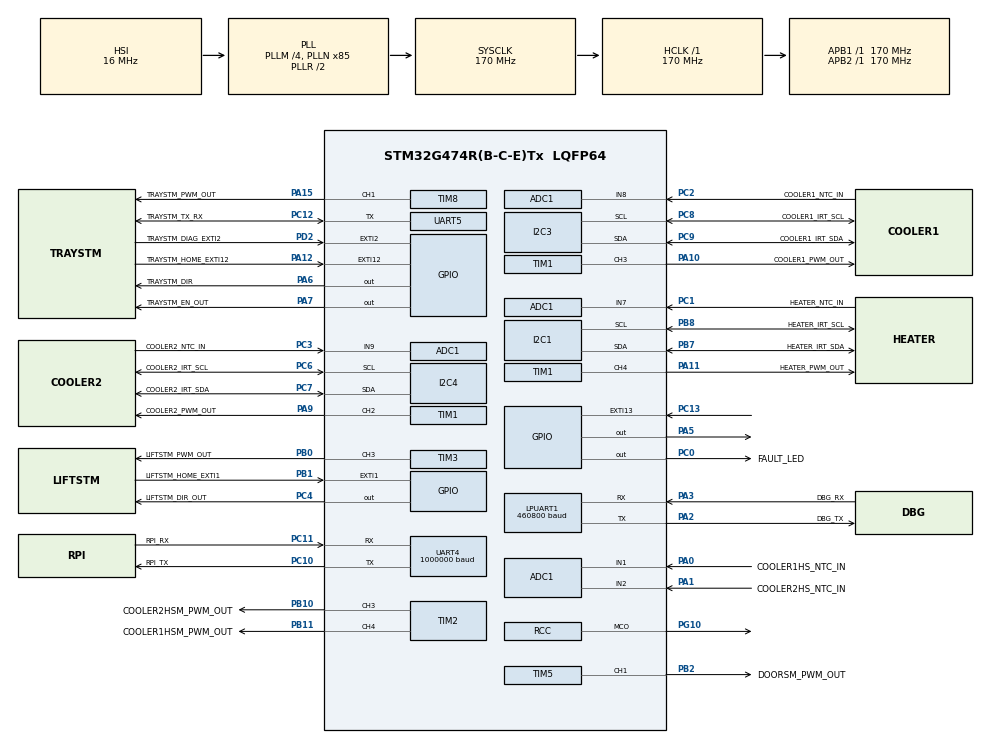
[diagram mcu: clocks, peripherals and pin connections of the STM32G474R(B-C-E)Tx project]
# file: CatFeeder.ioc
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ADC1.Channel-0\#ChannelRegularConversion=ADC_CHANNEL_7
ADC1.Channel-1\#ChannelRegularConversion=ADC_CHANNEL_8
ADC1.Channel-2\#ChannelRegularConversion=ADC_CHANNEL_9
ADC1.Channel-3\#ChannelRegularConversion=ADC_CHANNEL_1
ADC1.Channel-4\#ChannelRegularConversion=ADC_CHANNEL_2
ADC1.Channel-5\#ChannelRegularConversion=ADC_CHANNEL_TEMPSENSOR_ADC1
ADC1.Channel-9\#ChannelRegularConversion=ADC_CHANNEL_VREFINT
ADC1.DMAContinuousRequests=ENABLE
ADC1.EnableAnalogWatchDog1=false
ADC1.ExternalTrigConv=ADC_EXTERNALTRIG_T6_TRGO
ADC1.NbrOfConversion=7
ADC1.NbrOfConversionFlag=1
ADC1.OffsetNumber-0\#ChannelRegularConversion=ADC_OFFSET_NONE
ADC1.OffsetNumber-1\#ChannelRegularConversion=ADC_OFFSET_NONE
ADC1.OffsetNumber-2\#ChannelRegularConversion=ADC_OFFSET_NONE
ADC1.OffsetNumber-3\#ChannelRegularConversion=ADC_OFFSET_NONE
ADC1.OffsetNumber-4\#ChannelRegularConversion=ADC_OFFSET_NONE
ADC1.OffsetNumber-5\#ChannelRegularConversion=ADC_OFFSET_NONE
ADC1.OffsetNumber-9\#ChannelRegularConversion=ADC_OFFSET_NONE
ADC1.Overrun=ADC_OVR_DATA_OVERWRITTEN
ADC1.OversamplingMode=DISABLE
ADC1.Rank-0\#ChannelRegularConversion=1
ADC1.Rank-1\#ChannelRegularConversion=2
ADC1.Rank-2\#ChannelRegularConversion=3
ADC1.Rank-3\#ChannelRegularConversion=4
ADC1.Rank-4\#ChannelRegularConversion=5
ADC1.Rank-5\#ChannelRegularConversion=6
ADC1.Rank-9\#ChannelRegularConversion=7
ADC1.SamplingTime-0\#ChannelRegularConversion=ADC_SAMPLETIME_247CYCLES_5
ADC1.SamplingTime-1\#ChannelRegularConversion=ADC_SAMPLETIME_247CYCLES_5
ADC1.SamplingTime-2\#ChannelRegularConversion=ADC_SAMPLETIME_247CYCLES_5
ADC1.SamplingTime-3\#ChannelRegularConversion=ADC_SAMPLETIME_247CYCLES_5
ADC1.SamplingTime-4\#ChannelRegularConversion=ADC_SAMPLETIME_247CYCLES_5
ADC1.SamplingTime-5\#ChannelRegularConversion=ADC_SAMPLETIME_247CYCLES_5
ADC1.SamplingTime-9\#ChannelRegularConversion=ADC_SAMPLETIME_247CYCLES_5
ADC1.master=1
Dma.ADC1.6.Direction=DMA_PERIPH_TO_MEMORY
Dma.ADC1.6.EventEnable=DISABLE
Dma.ADC1.6.Instance=DMA1_Channel5
Dma.ADC1.6.MemDataAlignment=DMA_MDATAALIGN_HALFWORD
Dma.ADC1.6.MemInc=DMA_MINC_ENABLE
Dma.ADC1.6.Mode=DMA_CIRCULAR
Dma.ADC1.6.PeriphDataAlignment=DMA_PDATAALIGN_HALFWORD
Dma.ADC1.6.PeriphInc=DMA_PINC_DISABLE
Dma.ADC1.6.Polarity=HAL_DMAMUX_REQ_GEN_RISING
Dma.ADC1.6.Priority=DMA_PRIORITY_HIGH
Dma.ADC1.6.RequestNumber=1
Dma.ADC1.6.SignalID=NONE
Dma.ADC1.6.SyncEnable=DISABLE
Dma.ADC1.6.SyncPolarity=HAL_DMAMUX_SYNC_NO_EVENT
Dma.ADC1.6.SyncRequestNumber=1
Dma.ADC1.6.SyncSignalID=NONE
Dma.LPUART1_RX.0.Direction=DMA_PERIPH_TO_MEMORY
Dma.LPUART1_RX.0.EventEnable=DISABLE
Dma.LPUART1_RX.0.Instance=DMA1_Channel1
Dma.LPUART1_RX.0.MemDataAlignment=DMA_MDATAALIGN_BYTE
Dma.LPUART1_RX.0.MemInc=DMA_MINC_ENABLE
Dma.LPUART1_RX.0.Mode=DMA_CIRCULAR
Dma.LPUART1_RX.0.PeriphDataAlignment=DMA_PDATAALIGN_BYTE
Dma.LPUART1_RX.0.PeriphInc=DMA_PINC_DISABLE
Dma.LPUART1_RX.0.Polarity=HAL_DMAMUX_REQ_GEN_RISING
Dma.LPUART1_RX.0.Priority=DMA_PRIORITY_LOW
Dma.LPUART1_RX.0.RequestNumber=1
Dma.LPUART1_RX.0.SignalID=NONE
Dma.LPUART1_RX.0.SyncEnable=DISABLE
Dma.LPUART1_RX.0.SyncPolarity=HAL_DMAMUX_SYNC_NO_EVENT
Dma.LPUART1_RX.0.SyncRequestNumber=1
Dma.LPUART1_RX.0.SyncSignalID=NONE
Dma.LPUART1_TX.1.Direction=DMA_MEMORY_TO_PERIPH
Dma.LPUART1_TX.1.EventEnable=DISABLE
Dma.LPUART1_TX.1.Instance=DMA1_Channel2
Dma.LPUART1_TX.1.MemDataAlignment=DMA_MDATAALIGN_BYTE
Dma.LPUART1_TX.1.MemInc=DMA_MINC_ENABLE
Dma.LPUART1_TX.1.Mode=DMA_NORMAL
Dma.LPUART1_TX.1.PeriphDataAlignment=DMA_PDATAALIGN_BYTE
Dma.LPUART1_TX.1.PeriphInc=DMA_PINC_DISABLE
Dma.LPUART1_TX.1.Polarity=HAL_DMAMUX_REQ_GEN_RISING
Dma.LPUART1_TX.1.Priority=DMA_PRIORITY_LOW
Dma.LPUART1_TX.1.RequestNumber=1
Dma.LPUART1_TX.1.SignalID=NONE
Dma.LPUART1_TX.1.SyncEnable=DISABLE
Dma.LPUART1_TX.1.SyncPolarity=HAL_DMAMUX_SYNC_NO_EVENT
Dma.LPUART1_TX.1.SyncRequestNumber=1
Dma.LPUART1_TX.1.SyncSignalID=NONE
Dma.Request0=LPUART1_RX
Dma.Request1=LPUART1_TX
Dma.Request2=UART5_TX
Dma.Request3=UART5_RX
Dma.Request4=UART4_RX
Dma.Request5=UART4_TX
Dma.Request6=ADC1
Dma.UART4_RX.4.Direction=DMA_PERIPH_TO_MEMORY
Dma.UART4_RX.4.EventEnable=DISABLE
Dma.UART4_RX.4.Instance=DMA2_Channel1
Dma.UART4_RX.4.MemDataAlignment=DMA_MDATAALIGN_BYTE
Dma.UART4_RX.4.MemInc=DMA_MINC_ENABLE
Dma.UART4_RX.4.Mode=DMA_CIRCULAR
Dma.UART4_RX.4.PeriphDataAlignment=DMA_PDATAALIGN_BYTE
Dma.UART4_RX.4.PeriphInc=DMA_PINC_DISABLE
Dma.UART4_RX.4.Polarity=HAL_DMAMUX_REQ_GEN_RISING
Dma.UART4_RX.4.Priority=DMA_PRIORITY_HIGH
Dma.UART4_RX.4.RequestNumber=1
Dma.UART4_RX.4.SignalID=NONE
Dma.UART4_RX.4.SyncEnable=DISABLE
Dma.UART4_RX.4.SyncPolarity=HAL_DMAMUX_SYNC_NO_EVENT
Dma.UART4_RX.4.SyncRequestNumber=1
Dma.UART4_RX.4.SyncSignalID=NONE
Dma.UART4_TX.5.Direction=DMA_MEMORY_TO_PERIPH
Dma.UART4_TX.5.EventEnable=DISABLE
Dma.UART4_TX.5.Instance=DMA2_Channel2
Dma.UART4_TX.5.MemDataAlignment=DMA_MDATAALIGN_BYTE
Dma.UART4_TX.5.MemInc=DMA_MINC_ENABLE
Dma.UART4_TX.5.Mode=DMA_NORMAL
Dma.UART4_TX.5.PeriphDataAlignment=DMA_PDATAALIGN_BYTE
Dma.UART4_TX.5.PeriphInc=DMA_PINC_DISABLE
Dma.UART4_TX.5.Polarity=HAL_DMAMUX_REQ_GEN_RISING
Dma.UART4_TX.5.Priority=DMA_PRIORITY_HIGH
Dma.UART4_TX.5.RequestNumber=1
Dma.UART4_TX.5.SignalID=NONE
Dma.UART4_TX.5.SyncEnable=DISABLE
Dma.UART4_TX.5.SyncPolarity=HAL_DMAMUX_SYNC_NO_EVENT
Dma.UART4_TX.5.SyncRequestNumber=1
Dma.UART4_TX.5.SyncSignalID=NONE
Dma.UART5_RX.3.Direction=DMA_PERIPH_TO_MEMORY
Dma.UART5_RX.3.EventEnable=DISABLE
Dma.UART5_RX.3.Instance=DMA1_Channel4
Dma.UART5_RX.3.MemDataAlignment=DMA_MDATAALIGN_BYTE
Dma.UART5_RX.3.MemInc=DMA_MINC_ENABLE
Dma.UART5_RX.3.Mode=DMA_CIRCULAR
Dma.UART5_RX.3.PeriphDataAlignment=DMA_PDATAALIGN_BYTE
Dma.UART5_RX.3.PeriphInc=DMA_PINC_DISABLE
Dma.UART5_RX.3.Polarity=HAL_DMAMUX_REQ_GEN_RISING
Dma.UART5_RX.3.Priority=DMA_PRIORITY_MEDIUM
Dma.UART5_RX.3.RequestNumber=1
Dma.UART5_RX.3.SignalID=NONE
Dma.UART5_RX.3.SyncEnable=DISABLE
Dma.UART5_RX.3.SyncPolarity=HAL_DMAMUX_SYNC_NO_EVENT
Dma.UART5_RX.3.SyncRequestNumber=1
Dma.UART5_RX.3.SyncSignalID=NONE
Dma.UART5_TX.2.Direction=DMA_MEMORY_TO_PERIPH
Dma.UART5_TX.2.EventEnable=DISABLE
Dma.UART5_TX.2.Instance=DMA1_Channel3
Dma.UART5_TX.2.MemDataAlignment=DMA_MDATAALIGN_BYTE
Dma.UART5_TX.2.MemInc=DMA_MINC_ENABLE
Dma.UART5_TX.2.Mode=DMA_NORMAL
Dma.UART5_TX.2.PeriphDataAlignment=DMA_PDATAALIGN_BYTE
Dma.UART5_TX.2.PeriphInc=DMA_PINC_DISABLE
Dma.UART5_TX.2.Polarity=HAL_DMAMUX_REQ_GEN_RISING
Dma.UART5_TX.2.Priority=DMA_PRIORITY_MEDIUM
Dma.UART5_TX.2.RequestNumber=1
Dma.UART5_TX.2.SignalID=NONE
Dma.UART5_TX.2.SyncEnable=DISABLE
Dma.UART5_TX.2.SyncPolarity=HAL_DMAMUX_SYNC_NO_EVENT
Dma.UART5_TX.2.SyncRequestNumber=1
Dma.UART5_TX.2.SyncSignalID=NONE
FREERTOS.Tasks01=SystemTask,24,512,StartSystemTask,As weak,NULL,Dynamic,NULL,NULL;PiCommTask,24,512,StartPiCommTask,As weak,NULL,Dynamic,NULL,NULL;ThermalTask,32,512,StartThermalTask,As weak,NULL,Dynamic,NULL,NULL;FeedingTask,24,512,StartFeedingTask,As weak,NULL,Dynamic,NULL,NULL;DebugCommTask,8,1024,StartDebugCommTask,As weak,NULL,Dynamic,NULL,NULL
FREERTOS.configCHECK_FOR_STACK_OVERFLOW=2
FREERTOS.configENABLE_FPU=1
FREERTOS.configGENERATE_RUN_TIME_STATS=0
FREERTOS.configRECORD_STACK_HIGH_ADDRESS=1
FREERTOS.configTOTAL_HEAP_SIZE=16000
FREERTOS.configUSE_APPLICATION_TASK_TAG=0
FREERTOS.configUSE_MALLOC_FAILED_HOOK=1
I2C1.Timing=0x40B285C2
I2C3.Timing=0x40B285C2
I2C4.Timing=0x40B285C2
LPUART1.BaudRate=460800
LPUART1.OverrunDisableParam=UART_ADVFEATURE_OVERRUN_DISABLE
Mcu.Family=STM32G4
Mcu.Name=STM32G474R(B-C-E)Tx
Mcu.Package=LQFP64
NUCLEO-G474RE.BUTTON=1
NUCLEO-G474RE.Bsp_Common_DEMO=true
NUCLEO-G474RE.LD2=true
NUCLEO-G474RE.VCP=false
NVIC.DMA1_Channel1_IRQn=true\:5\:0\:false\:false\:true\:true\:false\:true\:true
NVIC.DMA1_Channel2_IRQn=true\:5\:0\:false\:false\:true\:true\:false\:true\:true
NVIC.DMA1_Channel3_IRQn=true\:5\:0\:false\:false\:true\:true\:false\:true\:true
NVIC.DMA1_Channel4_IRQn=true\:5\:0\:false\:false\:true\:true\:false\:true\:true
NVIC.DMA1_Channel5_IRQn=true\:0\:0\:false\:false\:true\:false\:false\:true\:true
NVIC.DMA2_Channel1_IRQn=true\:0\:0\:false\:false\:true\:false\:false\:true\:true
NVIC.DMA2_Channel2_IRQn=true\:0\:0\:false\:false\:true\:false\:false\:true\:true
NVIC.EXTI15_10_IRQn=true\:5\:0\:false\:false\:true\:true\:true\:true\:true
NVIC.EXTI1_IRQn=true\:5\:0\:false\:false\:true\:true\:true\:true\:true
NVIC.EXTI2_IRQn=true\:5\:0\:false\:false\:true\:true\:true\:true\:true
NVIC.LPUART1_IRQn=true\:5\:0\:false\:false\:true\:true\:true\:true\:true
NVIC.PriorityGroup=NVIC_PRIORITYGROUP_4
NVIC.TIM7_DAC_IRQn=true\:15\:0\:false\:false\:true\:false\:false\:true\:true
NVIC.TimeBase=TIM7_DAC_IRQn
NVIC.TimeBaseIP=TIM7
PA0.GPIO_Label=COOLER1HS_NTC_IN
PA0.Mode=IN1-Single-Ended
PA0.Signal=ADC1_IN1
PA1.GPIO_Label=COOLER2HS_NTC_IN
PA1.Mode=IN2-Single-Ended
PA1.Signal=ADC1_IN2
PA10.GPIO_Label=COOLER1_PWM_OUT
PA10.Signal=S_TIM1_CH3
PA11.GPIO_Label=HEATER_PWM_OUT
PA11.Signal=S_TIM1_CH4
PA12.GPIO_Label=TRAYSTM_HOME_EXTI12
PA12.GPIO_ModeDefaultEXTI=GPIO_MODE_IT_FALLING
PA12.Signal=GPXTI12
PA13.GPIO_Label=T_SWDIO
PA13.Mode=Trace_Asynchronous_SW
PA13.Signal=SYS_JTMS-SWDIO
PA14.GPIO_Label=T_SWCLK
PA14.Mode=Trace_Asynchronous_SW
PA14.Signal=SYS_JTCK-SWCLK
PA15.GPIO_Label=TRAYSTM_PWM_OUT
PA15.Signal=S_TIM8_CH1
PA2.GPIO_Label=DBG_TX
PA2.Mode=Asynchronous
PA2.Signal=LPUART1_TX
PA3.GPIO_Label=DBG_RX
PA3.Mode=Asynchronous
PA3.Signal=LPUART1_RX
PA5.Signal=GPIO_Output
PA6.GPIO_Label=TRAYSTM_DIR
PA6.Signal=GPIO_Output
PA7.GPIO_Label=TRAYSTM_EN_OUT
PA7.PinState=GPIO_PIN_SET
PA7.Signal=GPIO_Output
PA9.GPIO_Label=COOLER2_PWM_OUT
PA9.Signal=S_TIM1_CH2
PB0.GPIO_Label=LIFTSTM_PWM_OUT
PB0.Signal=S_TIM3_CH3
PB1.GPIO_Label=LIFTSTM_HOME_EXTI1
PB1.GPIO_ModeDefaultEXTI=GPIO_MODE_IT_FALLING
PB1.Signal=GPXTI1
PB10.GPIO_Label=COOLER2HSM_PWM_OUT
PB10.Signal=S_TIM2_CH3
PB11.GPIO_Label=COOLER1HSM_PWM_OUT
PB11.Signal=S_TIM2_CH4
PB2.GPIO_Label=DOORSM_PWM_OUT
PB2.Signal=S_TIM5_CH1
PB3.GPIO_Label=T_SWO
PB3.Mode=Trace_Asynchronous_SW
PB3.Signal=SYS_JTDO-SWO
PB7.GPIO_Label=HEATER_IRT_SDA
PB7.Mode=I2C
PB7.Signal=I2C1_SDA
PB8-BOOT0.GPIO_Label=HEATER_IRT_SCL
PB8-BOOT0.Mode=I2C
PB8-BOOT0.Signal=I2C1_SCL
PC0.GPIO_Label=FAULT_LED
PC0.Signal=GPIO_Output
PC1.GPIO_Label=HEATER_NTC_IN
PC1.Mode=IN7-Single-Ended
PC1.Signal=ADC1_IN7
PC10.GPIO_Label=RPI_TX
PC10.Mode=Asynchronous
PC10.Signal=UART4_TX
PC11.GPIO_Label=RPI_RX
PC11.Mode=Asynchronous
PC11.Signal=UART4_RX
PC12.GPIO_Label=TRAYSTM_TX_RX
PC12.Mode=Half_duplex(single_wire_mode)
PC12.Signal=UART5_TX
PC13.Signal=GPXTI13
PC14-OSC32_IN.GPIO_Label=RCC_OSC32_IN
PC14-OSC32_IN.Mode=LSE-External-Oscillator
PC14-OSC32_IN.Signal=RCC_OSC32_IN
PC15-OSC32_OUT.GPIO_Label=RCC_OSC32_OUT
PC15-OSC32_OUT.Mode=LSE-External-Oscillator
PC15-OSC32_OUT.Signal=RCC_OSC32_OUT
PC2.GPIO_Label=COOLER1_NTC_IN
PC2.Mode=IN8-Single-Ended
PC2.Signal=ADC1_IN8
PC3.GPIO_Label=COOLER2_NTC_IN
PC3.Mode=IN9-Single-Ended
PC3.Signal=ADC1_IN9
PC4.GPIO_Label=LIFTSTM_DIR_OUT
PC4.Signal=GPIO_Output
PC6.GPIO_Label=COOLER2_IRT_SCL
PC6.Mode=I2C
PC6.Signal=I2C4_SCL
PC7.GPIO_Label=COOLER2_IRT_SDA
PC7.Mode=I2C
PC7.Signal=I2C4_SDA
PC8.GPIO_Label=COOLER1_IRT_SCL
PC8.Mode=I2C
PC8.Signal=I2C3_SCL
PC9.GPIO_Label=COOLER1_IRT_SDA
PC9.Mode=I2C
PC9.Signal=I2C3_SDA
PD2.GPIO_Label=TRAYSTM_DIAG_EXTI2
PD2.GPIO_PuPd=GPIO_PULLUP
PD2.Signal=GPXTI2
PF0-OSC_IN.GPIO_Label=RCC_OSC_IN
PF0-OSC_IN.Mode=HSE-External-Oscillator
PF0-OSC_IN.Signal=RCC_OSC_IN
PF1-OSC_OUT.GPIO_Label=RCC_OSC_OUT
PF1-OSC_OUT.Mode=HSE-External-Oscillator
PF1-OSC_OUT.Signal=RCC_OSC_OUT
PG10-NRST.Mode=Clock-out
PG10-NRST.Signal=RCC_MCO
ProjectManager.HeapSize=0x200
ProjectManager.StackSize=0x400
ProjectManager.TargetToolchain=STM32CubeIDE
RCC.ADC12Freq_Value=170000000
RCC.ADC345Freq_Value=170000000
RCC.AHBFreq_Value=170000000
RCC.APB1Freq_Value=170000000
RCC.APB1TimFreq_Value=170000000
RCC.APB2Freq_Value=170000000
RCC.APB2TimFreq_Value=170000000
RCC.CortexFreq_Value=170000000
RCC.EXTERNAL_CLOCK_VALUE=12288000
RCC.HCLKFreq_Value=170000000
RCC.HSE_VALUE=24000000
RCC.HSI48_VALUE=48000000
RCC.HSI_VALUE=16000000
RCC.PLLM=RCC_PLLM_DIV4
RCC.PLLN=85
RCC.PREFETCH_ENABLE=1
RCC.RCC_MCO1Source=RCC_MCO1SOURCE_LSI
RCC.RCC_MCODiv=RCC_MCODIV_16
RCC.RTCClockSelection=RCC_RTCCLKSOURCE_LSE
RCC.SYSCLKFreq_VALUE=170000000
RCC.SYSCLKSource=RCC_SYSCLKSOURCE_PLLCLK
RCC.USBFreq_Value=170000000
RCC.VCOOutputFreq_Value=340000000
SH.S_TIM1_CH2.0=TIM1_CH2,PWM Generation2 CH2
SH.S_TIM1_CH3.0=TIM1_CH3,PWM Generation3 CH3
SH.S_TIM1_CH4.0=TIM1_CH4,PWM Generation4 CH4
SH.S_TIM2_CH3.0=TIM2_CH3,PWM Generation3 CH3
SH.S_TIM2_CH4.0=TIM2_CH4,PWM Generation4 CH4
SH.S_TIM3_CH3.0=TIM3_CH3,PWM Generation3 CH3
SH.S_TIM5_CH1.0=TIM5_CH1,PWM Generation1 CH1
SH.S_TIM8_CH1.0=TIM8_CH1,PWM Generation1 CH1
TIM1.Channel-PWM\ Generation2\ CH2=TIM_CHANNEL_2
TIM1.Channel-PWM\ Generation3\ CH3=TIM_CHANNEL_3
TIM1.Channel-PWM\ Generation4\ CH4=TIM_CHANNEL_4
TIM2.Channel-PWM\ Generation3\ CH3=TIM_CHANNEL_3
TIM2.Channel-PWM\ Generation4\ CH4=TIM_CHANNEL_4
TIM3.Channel-PWM\ Generation3\ CH3=TIM_CHANNEL_3
TIM5.Channel-PWM\ Generation1\ CH1=TIM_CHANNEL_1
TIM6.PeriodNoDither=999
TIM6.Prescaler=169
TIM6.TIM_MasterOutputTrigger=TIM_TRGO_UPDATE
TIM8.Channel-PWM\ Generation1\ CH1=TIM_CHANNEL_1
UART4.BaudRate=1000000
VP_ADC1_TempSens_Input.Mode=IN-TempSens
VP_ADC1_Vref_Input.Mode=IN-Vrefint
VP_CRC_VS_CRC.Mode=CRC_Activate
VP_FREERTOS_VS_CMSIS_V2.Mode=CMSIS_V2
VP_NUCLEO-G474RE_VS_BSP_COMMON.Mode=COMMON
VP_RTC_VS_RTC_Activate.Mode=RTC_Enabled
VP_SYS_VS_DBSignals.Mode=DisableDeadBatterySignals
VP_SYS_VS_tim7.Mode=TIM7
VP_TIM6_VS_ClockSourceINT.Mode=Enable_Timer
board=NUCLEO-G474RE

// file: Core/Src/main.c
/* USER CODE BEGIN Header */
/**
  ******************************************************************************
  * @file           : main.c
  * @brief          : Main program body
  ******************************************************************************
  * @attention
  *
  * Copyright (c) 2026 STMicroelectronics.
  * All rights reserved.
  *
  * This software is licensed under terms that can be found in the LICENSE file
  * in the root directory of this software component.
  * If no LICENSE file comes with this software, it is provided AS-IS.
  *
  ******************************************************************************
  */
/* USER CODE END Header */
#include "main.h"
#include "cmsis_os.h"
#include "adc.h"
#include "crc.h"
#include "dma.h"
#include "i2c.h"
#include "usart.h"
#include "rtc.h"
#include "tim.h"
#include "gpio.h"

/* USER CODE BEGIN Includes */
#include "error_handler.h"
#include <stdio.h>

/* USER CODE END Includes */

__IO uint32_t BspButtonState = BUTTON_RELEASED;

void SystemClock_Config(void);
void MX_FREERTOS_Init(void);

int main(void)
{

  /* MCU Configuration--------------------------------------------------------*/

  /* Reset of all peripherals, Initializes the Flash interface and the Systick. */
  HAL_Init();

  /* Configure the system clock */
  SystemClock_Config();

  /* Initialize all configured peripherals */
  MX_GPIO_Init();
  MX_DMA_Init();
  MX_LPUART1_UART_Init();
  MX_RTC_Init();
  MX_CRC_Init();
  MX_ADC1_Init();
  MX_I2C1_Init();
  MX_UART4_Init();
  MX_TIM1_Init();
  MX_TIM8_Init();
  MX_UART5_Init();
  MX_I2C3_Init();
  MX_I2C4_Init();
  MX_TIM2_Init();
  MX_TIM3_Init();
  MX_TIM5_Init();
  MX_TIM6_Init();
  /* USER CODE BEGIN 2 */
  // Enable backup register access by disabling Back-up domain protection
  PWR->CR1 |= PWR_CR1_DBP;

  // Enable DWT cycle counter
  CoreDebug->DEMCR |= CoreDebug_DEMCR_TRCENA_Msk;
  DWT->CYCCNT = 0;
  DWT->CTRL |= DWT_CTRL_CYCCNTENA_Msk;

  // Print startup report
  printf("**************************** CatFeeder Firmware Start Up Report ***************************\r\n");
  printf("* The System Reset Cause is: %s\n\r", GetResetCauseString());
  PrintFaultBackupReport();
  printf("* STM32G4xx HAL Initialized\r\n");
  printf("* All Peripherals Initialized\r\n");
  printf("* STM32G4xx HAL Version: %ld.%ld.%ld\r\n",
          (uint32_t)(HAL_GetHalVersion() >> 24),
          (uint32_t)((HAL_GetHalVersion() >> 16) & 0xFF),
          (uint32_t)((HAL_GetHalVersion() >> 8) & 0xFF));
  /* USER CODE END 2 */

  /* Init scheduler */
  osKernelInitialize();  /* Call init function for freertos objects (in cmsis_os2.c) */
  MX_FREERTOS_Init();

  /* Initialize led */
  BSP_LED_Init(LED_GREEN);

  /* Initialize USER push-button, will be used to trigger an interrupt each time it's pressed.*/
  BSP_PB_Init(BUTTON_USER, BUTTON_MODE_EXTI);

  /* USER CODE BEGIN BSP */
  printf("* BSP Initialized\r\n");
  printf("* OS Kernel Initialized\r\n");
  printf("* FreeRTOS Kernel Version: %ld.%ld.%ld\r\n",
          (uint32_t)tskKERNEL_VERSION_MAJOR,
          (uint32_t)tskKERNEL_VERSION_MINOR,
          (uint32_t)tskKERNEL_VERSION_BUILD);
  printf("* Starting OS Kernel \r\n");
  printf("******************************************************************************************\r\n");
  /* USER CODE END BSP */

  /* Start scheduler */
  osKernelStart();

  /* We should never get here as control is now taken by the scheduler */

  /* Infinite loop */
  /* USER CODE BEGIN WHILE */
  HANDLE_CRITICAL_ERROR();

  // Should not reach here, but if it does, disable interrupts and enter an infinite loop.
  __disable_irq();
  while (1)
  {

    /* USER CODE END WHILE */

  }
}

void SystemClock_Config(void)
{
  RCC_OscInitTypeDef RCC_OscInitStruct = {0};
  RCC_ClkInitTypeDef RCC_ClkInitStruct = {0};

  /** Configure the main internal regulator output voltage
  */
  HAL_PWREx_ControlVoltageScaling(PWR_REGULATOR_VOLTAGE_SCALE1_BOOST);

  /** Configure LSE Drive Capability
  */
  HAL_PWR_EnableBkUpAccess();
  __HAL_RCC_LSEDRIVE_CONFIG(RCC_LSEDRIVE_LOW);

  /** Initializes the RCC Oscillators according to the specified parameters
  * in the RCC_OscInitTypeDef structure.
  */
  RCC_OscInitStruct.OscillatorType = RCC_OSCILLATORTYPE_HSI|RCC_OSCILLATORTYPE_LSI
                              |RCC_OSCILLATORTYPE_LSE;
  RCC_OscInitStruct.LSEState = RCC_LSE_ON;
  RCC_OscInitStruct.HSIState = RCC_HSI_ON;
  RCC_OscInitStruct.HSICalibrationValue = RCC_HSICALIBRATION_DEFAULT;
  RCC_OscInitStruct.LSIState = RCC_LSI_ON;
  RCC_OscInitStruct.PLL.PLLState = RCC_PLL_ON;
  RCC_OscInitStruct.PLL.PLLSource = RCC_PLLSOURCE_HSI;
  RCC_OscInitStruct.PLL.PLLM = RCC_PLLM_DIV4;
  RCC_OscInitStruct.PLL.PLLN = 85;
  RCC_OscInitStruct.PLL.PLLP = RCC_PLLP_DIV2;
  RCC_OscInitStruct.PLL.PLLQ = RCC_PLLQ_DIV2;
  RCC_OscInitStruct.PLL.PLLR = RCC_PLLR_DIV2;
  if (HAL_RCC_OscConfig(&RCC_OscInitStruct) != HAL_OK)
  {
    Error_Handler();
  }

  /** Initializes the CPU, AHB and APB buses clocks
  */
  RCC_ClkInitStruct.ClockType = RCC_CLOCKTYPE_HCLK|RCC_CLOCKTYPE_SYSCLK
                              |RCC_CLOCKTYPE_PCLK1|RCC_CLOCKTYPE_PCLK2;
  RCC_ClkInitStruct.SYSCLKSource = RCC_SYSCLKSOURCE_PLLCLK;
  RCC_ClkInitStruct.AHBCLKDivider = RCC_SYSCLK_DIV1;
  RCC_ClkInitStruct.APB1CLKDivider = RCC_HCLK_DIV1;
  RCC_ClkInitStruct.APB2CLKDivider = RCC_HCLK_DIV1;

  if (HAL_RCC_ClockConfig(&RCC_ClkInitStruct, FLASH_LATENCY_4) != HAL_OK)
  {
    Error_Handler();
  }
  HAL_RCC_MCOConfig(RCC_MCO_PG10, RCC_MCO1SOURCE_LSI, RCC_MCODIV_16);
}

/* USER CODE BEGIN 4 */
// Retargets the C library printf function to the blocking LPUART1 transfer for early debugging.
int _write(int file, char *ptr, int len)
{
  HAL_UART_Transmit(&hlpuart1, (uint8_t *)ptr, len, HAL_MAX_DELAY);
  return len;
}
/* USER CODE END 4 */

void HAL_TIM_PeriodElapsedCallback(TIM_HandleTypeDef *htim)
{
  if (htim->Instance == TIM7)
  {
    HAL_IncTick();
  }
}

/**
  * @brief BSP Push Button callback
  * @param Button Specifies the pressed button
  * @retval None
  */
void BSP_PB_Callback(Button_TypeDef Button)
{
  if (Button == BUTTON_USER)
  {
    BspButtonState = BUTTON_PRESSED;
  }
}

void Error_Handler(void)
{
  /* USER CODE BEGIN Error_Handler_Debug */

  // Set a system fault flag for platform error.
  FAULT_BKPR->SysFaultFlags |= SYSFAULT_HAL_ERROR;

  HANDLE_CRITICAL_ERROR();

  // Should not reach here, but if it does, disable interrupts and enter an infinite loop.
  __disable_irq();
  while (1)
  {
  }
  /* USER CODE END Error_Handler_Debug */
}
#ifdef USE_FULL_ASSERT
/**
  * @brief  Reports the name of the source file and the source line number
  *         where the assert_param error has occurred.
  * @param  file: pointer to the source file name
  * @param  line: assert_param error line source number
  * @retval None
  */
void assert_failed(uint8_t *file, uint32_t line)
{
  /* USER CODE BEGIN 6 */

  HandleAssertFail(file, line);

  // Should not reach here, but if it does, disable interrupts and enter an infinite loop.
  __disable_irq();
  while (1)
  {
  }
  /* USER CODE END 6 */
}
#endif /* USE_FULL_ASSERT */

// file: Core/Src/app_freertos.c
/* USER CODE BEGIN Header */
/**
  ******************************************************************************
  * File Name          : app_freertos.c
  * Description        : Code for freertos applications
  ******************************************************************************
  * @attention
  *
  * Copyright (c) 2026 STMicroelectronics.
  * All rights reserved.
  *
  * This software is licensed under terms that can be found in the LICENSE file
  * in the root directory of this software component.
  * If no LICENSE file comes with this software, it is provided AS-IS.
  *
  ******************************************************************************
  */
/* USER CODE END Header */

#include "FreeRTOS.h"
#include "task.h"
#include "main.h"
#include "cmsis_os.h"

/* USER CODE BEGIN Includes */
#include "error_handler.h"

/* USER CODE END Includes */

/* Definitions for SystemTask */
osThreadId_t SystemTaskHandle;
const osThreadAttr_t SystemTask_attributes = {
  .name = "SystemTask",
  .priority = (osPriority_t) osPriorityNormal,
  .stack_size = 512 * 4
};
/* Definitions for PiCommTask */
osThreadId_t PiCommTaskHandle;
const osThreadAttr_t PiCommTask_attributes = {
  .name = "PiCommTask",
  .priority = (osPriority_t) osPriorityNormal,
  .stack_size = 512 * 4
};
/* Definitions for ThermalTask */
osThreadId_t ThermalTaskHandle;
const osThreadAttr_t ThermalTask_attributes = {
  .name = "ThermalTask",
  .priority = (osPriority_t) osPriorityAboveNormal,
  .stack_size = 512 * 4
};
/* Definitions for FeedingTask */
osThreadId_t FeedingTaskHandle;
const osThreadAttr_t FeedingTask_attributes = {
  .name = "FeedingTask",
  .priority = (osPriority_t) osPriorityNormal,
  .stack_size = 512 * 4
};
/* Definitions for DebugCommTask */
osThreadId_t DebugCommTaskHandle;
const osThreadAttr_t DebugCommTask_attributes = {
  .name = "DebugCommTask",
  .priority = (osPriority_t) osPriorityLow,
  .stack_size = 1024 * 4
};

void StartSystemTask(void *argument);
void StartPiCommTask(void *argument);
void StartThermalTask(void *argument);
void StartFeedingTask(void *argument);
void StartDebugCommTask(void *argument);

void MX_FREERTOS_Init(void); /* (MISRA C 2004 rule 8.1) */

/* Hook prototypes */
void vApplicationStackOverflowHook(xTaskHandle xTask, signed char *pcTaskName);
void vApplicationMallocFailedHook(void);

/* USER CODE BEGIN 4 */
void vApplicationStackOverflowHook(xTaskHandle xTask, signed char *pcTaskName)
{
   /* Run time stack overflow checking is performed if
   configCHECK_FOR_STACK_OVERFLOW is defined to 1 or 2. This hook function is
   called if a stack overflow is detected. */

  FAULT_BKPR->SysFaultFlags |= SYSFAULT_OS_STACK_OVERFLOW;
  HANDLE_CRITICAL_ERROR();

}
/* USER CODE END 4 */

/* USER CODE BEGIN 5 */
void vApplicationMallocFailedHook(void)
{
   /* vApplicationMallocFailedHook() will only be called if
   configUSE_MALLOC_FAILED_HOOK is set to 1 in FreeRTOSConfig.h. It is a hook
   function that will get called if a call to pvPortMalloc() fails.
   pvPortMalloc() is called internally by the kernel whenever a task, queue,
   timer or semaphore is created. It is also called by various parts of the
   demo application. If heap_1.c or heap_2.c are used, then the size of the
   heap available to pvPortMalloc() is defined by configTOTAL_HEAP_SIZE in
   FreeRTOSConfig.h, and the xPortGetFreeHeapSize() API function can be used
   to query the size of free heap space that remains (although it does not
   provide information on how the remaining heap might be fragmented). */

  FAULT_BKPR->SysFaultFlags |= SYSFAULT_OS_MALLOC_FAILED;
  HANDLE_CRITICAL_ERROR();
}
/* USER CODE END 5 */

void MX_FREERTOS_Init(void) {

  /* Create the thread(s) */
  /* creation of SystemTask */
  SystemTaskHandle = osThreadNew(StartSystemTask, NULL, &SystemTask_attributes);

  /* creation of PiCommTask */
  PiCommTaskHandle = osThreadNew(StartPiCommTask, NULL, &PiCommTask_attributes);

  /* creation of ThermalTask */
  ThermalTaskHandle = osThreadNew(StartThermalTask, NULL, &ThermalTask_attributes);

  /* creation of FeedingTask */
  FeedingTaskHandle = osThreadNew(StartFeedingTask, NULL, &FeedingTask_attributes);

  /* creation of DebugCommTask */
  DebugCommTaskHandle = osThreadNew(StartDebugCommTask, NULL, &DebugCommTask_attributes);

}

__weak void StartSystemTask(void *argument)
{
  for(;;)
  {
    osDelay(1);
  }
}

__weak void StartPiCommTask(void *argument)
{
  for(;;)
  {
    osDelay(1);
  }
}

__weak void StartThermalTask(void *argument)
{
  for(;;)
  {
    osDelay(1);
  }
}

__weak void StartFeedingTask(void *argument)
{
  for(;;)
  {
    osDelay(1);
  }
}

__weak void StartDebugCommTask(void *argument)
{
  for(;;)
  {
    osDelay(1);
  }
}
